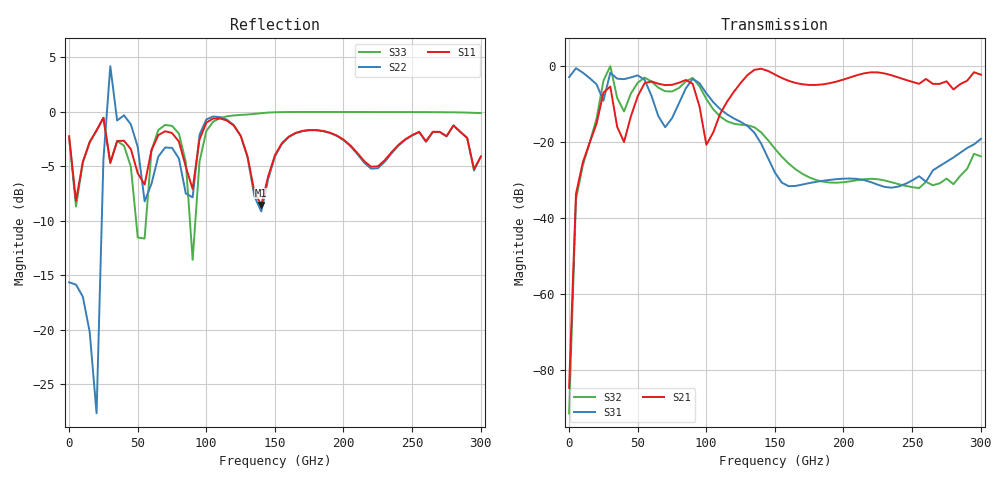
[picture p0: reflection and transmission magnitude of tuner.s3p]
! Touchstone file from project Quartz_direct_tuner_wide_Paris_rho_01_FINAL_RnPort_supermix
! Exported from HFSS 15.0.0
! Variables:
!  GHz = 1000000000
!  L1 = 200um
!  L2 = 70um
!  angleA = 15deg
!  angleB = 15deg
!  chokeSec1L = 108.5um
!  chokeSec1W = 25um
!  chokeSec2L = 132um
!  chokeSec2W = 3um
!  chokeSec3L = 132um
!  chokeSec3W = 25um
!  chokeSec4L = 132um
!  chokeSec4W = 3um
!  dielT = 490nm
!  groundT = 200nm
!  lower_dielT = 240nm
!  quadwv = 132um
!  radR = 108.5um
!  sec0L = 132um
!  sec0W = 5um
!  sec1L = 154.5um
!  sec1W = 6.5um
!  sec2L = 67.5um
!  sec2W = 14.8um
!  sec3L = 50um
!  sec3W = 4um
!  sec4L = 67um
!  sec4W = 2.9um
!  shiftX = 0um
!  slot1L = 30um
!  slotL = 160um
!  slotW = 2.5um
!  strip1L = 30um
!  stripL = 120um
!  stripPortH = 75um
!  stripPortW = 150um
!  stripT = 350nm
!  stripW = 2.5um
!  stubSubL = 1276.7132034356um
!  stubSubT = 100um
!  upper_dielT = 250nm
!  upper_groundT = 100nm
!  wgA = 1.1mm
!  wgB = 0.55mm
!  windowW = 10um
!Data is not renormalized
! Modal data exported
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# GHZ S MA
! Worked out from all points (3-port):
!   61 points, 100 MHz to 300.1 GHz, reference per port
!   strongest paths, dB at 100 MHz, 75.1 GHz, 150.1 GHz, 225.1 GHz, 300.1 GHz:
!     S21: -84.6, -5.0, -2.3, -1.7, -2.3
!     S31: -3.0, -13.7, -28.1, -31.2, -19.2
!     S32: -91.3, -6.7, -21.8, -29.8, -23.8
!   lowest |S11| = -8.6 dB at 140.1 GHz (marker M1), VSWR 2.19
!   |S11| at or under -10 dB: nowhere
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0.1  0.7711 -10.8  5.73e-05 -19.4  0.7108 12.0
     5.877e-05 -19.4  0.165 179.9  2.783e-05 3.0
     0.7108 12.0  2.724e-05 3.1  0.7578 168.8
5.1  0.3896 -85.4  0.02087 -64.8  0.9331 -25.9
     0.02086 -64.8  0.161 -179.9  0.01766 -70.0
     0.9331 -25.9  0.01767 -70.0  0.3671 -145.4
25.1  0.9375 -166.1  0.4454 -113.3  0.3474 -104.3
      0.4454 -113.3  0.6041 -30.1  0.6367 -149.3
      0.3474 -104.3  0.6367 -149.3  0.9369 137.5
30.1  0.5828 -169.9  0.5352 121.5  0.8117 -65.3
      0.5352 121.5  1.617 -156.8  0.9909 69.8
      0.8117 -65.3  0.9909 69.8  0.5816 -140.8
105.1  0.9304 170.9  0.1335 23.8  0.3338 56.4
       0.1335 23.8  0.9503 100.5  0.2689 19.6
       0.3338 56.4  0.2689 19.6  0.8999 127.8
140.1  0.3733 163.2  0.9169 -78.8  0.09464 -41.2
       0.9169 -78.8  0.3486 -140.2  0.1333 -129.2
       0.09467 -41.2  0.1333 -129.2  0.9843 78.3
150.1  0.6323 175.1  0.769 -118.3  0.03947 -48.4
       0.7689 -118.3  0.624 127.7  0.08128 -174.5
       0.03946 -48.4  0.08128 -174.5  0.9938 67.0
190.1  0.8012 139.8  0.5926 162.3  0.03178 -23.8
       0.5926 162.3  0.7986 5.2  0.0293 85.7
       0.03178 -23.8  0.0293 85.7  0.9966 26.1
220.1  0.5589 132.6  0.8227 85.7  0.02965 -58.3
       0.8227 85.7  0.5477 -140.8  0.03283 -5.7
       0.02965 -58.3  0.03283 -5.7  0.9962 -3.3
300.1  0.6224 78.6  0.765 -96.1  0.1098 -108.2
       0.765 -96.1  0.6226 -88.9  0.06473 125.7
       0.1098 -108.2  0.06474 125.7  0.9854 -93.6
